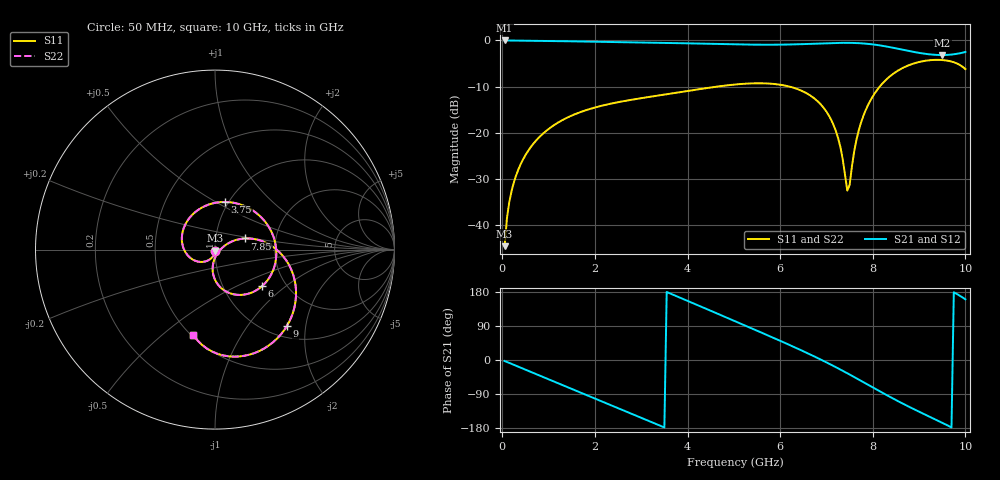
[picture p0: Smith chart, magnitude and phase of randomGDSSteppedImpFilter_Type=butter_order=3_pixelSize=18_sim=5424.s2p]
! freq	dB(S11)	phase(S11)	dB(S12)	phase(S12)
!  dB(S21)	phase(S21)	dB(S22)	phase(S22)
!S-par simulation data
#  GHz  S  DB  R 50
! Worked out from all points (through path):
!   200 points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, 50 MHz to 10 GHz, reference 50 ohm
!   highest |S21| = 0.00 dB at 50 MHz (marker M1); lowest = -3.2 dB at 9.5 GHz (marker M2)
!   group delay of S21, straight-line fit = 154 ps
!   lowest |S11| = -44.5 dB at 50 MHz (marker M3), VSWR 1.01, Z = 50 - j0.594 ohm
!   |S11| at or under -10 dB: start of sweep to 4.629 GHz; 6.206 GHz to 8.149 GHz (1.943 GHz wide, 27.1 % of centre)
!   |S22| runs from -44.5 to -4.2 dB; largest |S21 - S12| = 0
!   S11 on the Smith chart (normalised r, x): 50 MHz: 1.00, -0.01; 3.75 GHz: 0.96, +0.55; 6 GHz: 1.52, -0.70; 7.85 GHz: 1.39, +0.18; 9 GHz: 1.22, -1.57; 10 GHz: 0.51, -0.64
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0.05  -44.51 -91.8  -0.00 -2.6  -0.00 -2.6  -44.51 -91.8
0.1  -38.51 -94.5  -0.01 -5.2  -0.01 -5.2  -38.51 -94.5
0.2  -32.57 -99.5  -0.02 -10.3  -0.02 -10.3  -32.57 -99.5
0.5  -24.82 -115.9  -0.05 -25.5  -0.05 -25.5  -24.82 -116.0
1.15  -18.11 -149.4  -0.13 -58.5  -0.13 -58.5  -18.10 -149.5
1.75  -15.28 -179.9  -0.23 -88.8  -0.23 -88.8  -15.28 -180.0
2.5  -13.36 142.1  -0.35 -126.7  -0.35 -126.7  -13.36 142.0
3.4  -11.87 96.0  -0.51 -172.8  -0.51 -172.8  -11.86 95.9
3.75  -11.32 78.0  -0.58 169.1  -0.58 169.1  -11.32 77.9
4.45  -10.25 41.9  -0.73 132.6  -0.73 132.6  -10.25 41.8
5.05  -9.51 11.0  -0.86 101.1  -0.86 101.1  -9.51 11.0
6  -9.58 -38.0  -0.91 50.7  -0.91 50.7  -9.58 -38.0
6.7  -12.26 -74.6  -0.72 11.6  -0.72 11.6  -12.26 -74.6
7.2  -19.50 -97.2  -0.54 -18.8  -0.54 -18.8  -19.50 -97.0
7.35  -25.61 -93.3  -0.52 -28.4  -0.52 -28.4  -25.58 -92.8
7.45  -32.49 -51.0  -0.52 -35.0  -0.52 -35.0  -32.32 -50.6
7.65  -21.39 25.8  -0.57 -48.4  -0.57 -48.4  -21.37 25.4
7.85  -15.02 20.5  -0.70 -62.0  -0.70 -62.0  -15.01 20.4
8.35  -7.94 -8.5  -1.41 -95.9  -1.41 -95.9  -7.93 -8.6
9  -4.66 -46.8  -2.69 -136.4  -2.69 -136.4  -4.66 -46.8
9.5  -4.24 -74.3  -3.16 -165.6  -3.16 -165.6  -4.24 -74.3
10  -6.20 -104.3  -2.50 160.2  -2.50 160.2  -6.20 -104.2
